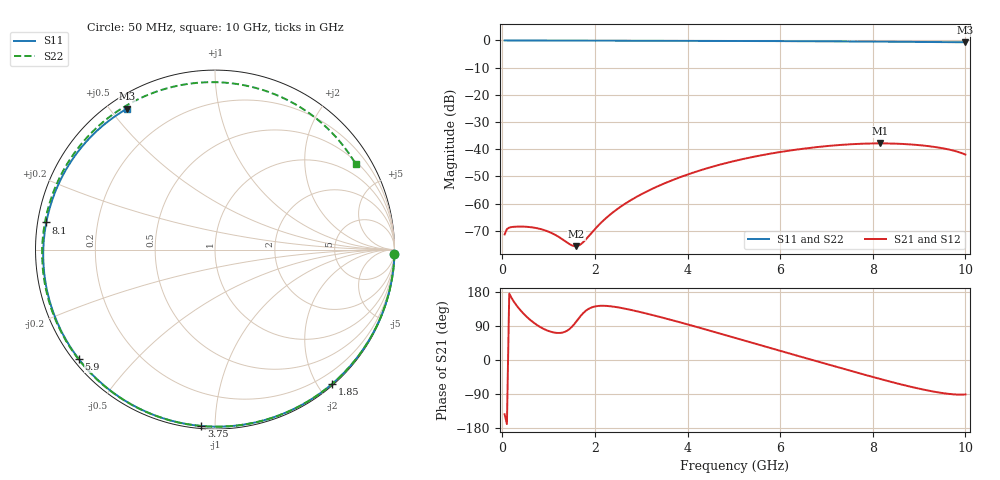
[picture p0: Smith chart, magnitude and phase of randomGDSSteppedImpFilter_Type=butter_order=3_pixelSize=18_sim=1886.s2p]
! freq	dB(S11)	phase(S11)	dB(S12)	phase(S12)
!  dB(S21)	phase(S21)	dB(S22)	phase(S22)
!S-par simulation data
#  GHz  S  DB  R 50
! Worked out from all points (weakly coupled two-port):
!   200 points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, 50 MHz to 10 GHz, reference 50 ohm
!   highest |S21| = -37.83 dB at 8.15 GHz (marker M1); lowest = -75.6 dB at 1.6 GHz (marker M2)
!   lowest |S11| = -0.7 dB at 10 GHz (marker M3), VSWR 25.86, Z = 2.53 + j27.6 ohm
!   |S11| at or under -10 dB: nowhere
!   |S22| runs from -0.8 to 0.0 dB; largest |S21 - S12| = 0
!   S11 on the Smith chart (normalised r, x): 50 MHz: 0, -85; 1.85 GHz: 0.02, -2.20; 3.75 GHz: 0.01, -0.92; 5.9 GHz: 0.02, -0.35; 8.1 GHz: 0.02, +0.08; 10 GHz: 0.05, +0.55
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0.05  -0.00 -1.4  -71.29 -143.2  -71.29 -143.2  -0.00 -1.5
0.1  -0.00 -2.7  -69.29 -169.1  -69.29 -169.1  -0.00 -3.0
0.2  -0.00 -5.4  -68.58 163.7  -68.58 163.7  -0.00 -5.9
0.7  -0.02 -18.9  -68.84 96.5  -68.84 96.5  -0.02 -20.6
1.05  -0.03 -28.1  -70.65 74.5  -70.65 74.5  -0.04 -30.8
1.6  -0.05 -42.4  -75.61 101.8  -75.61 101.8  -0.06 -46.5
1.75  -0.06 -46.3  -74.09 124.1  -74.09 124.1  -0.06 -50.8
1.85  -0.06 -48.8  -72.24 133.9  -72.24 133.9  -0.07 -53.6
2.5  -0.08 -65.0  -61.76 138.9  -61.76 138.9  -0.09 -71.8
3.4  -0.11 -86.4  -53.27 113.7  -53.27 113.7  -0.13 -96.4
3.75  -0.12 -94.5  -50.83 102.4  -50.83 102.4  -0.14 -105.9
5.05  -0.18 -123.1  -44.15 57.5  -44.15 57.5  -0.22 -141.4
5.9  -0.23 -141.2  -41.28 27.6  -41.28 27.6  -0.29 -165.9
6.7  -0.29 -158.2  -39.37 -0.2  -39.37 -0.2  -0.36 168.9
7.4  -0.36 -173.3  -38.28 -24.3  -38.28 -24.3  -0.44 144.5
8.1  -0.43 170.9  -37.84 -48.1  -37.84 -48.1  -0.53 117.2
8.15  -0.43 169.7  -37.83 -49.8  -37.83 -49.8  -0.54 115.1
8.35  -0.45 165.0  -37.86 -56.3  -37.86 -56.3  -0.56 106.7
8.75  -0.50 155.4  -38.14 -68.6  -38.14 -68.6  -0.61 89.1
9.15  -0.55 145.3  -38.73 -79.5  -38.73 -79.5  -0.65 70.9
9.55  -0.60 134.7  -39.75 -88.0  -39.75 -88.0  -0.70 52.2
10  -0.67 122.0  -41.94 -90.9  -41.94 -90.9  -0.75 31.2
